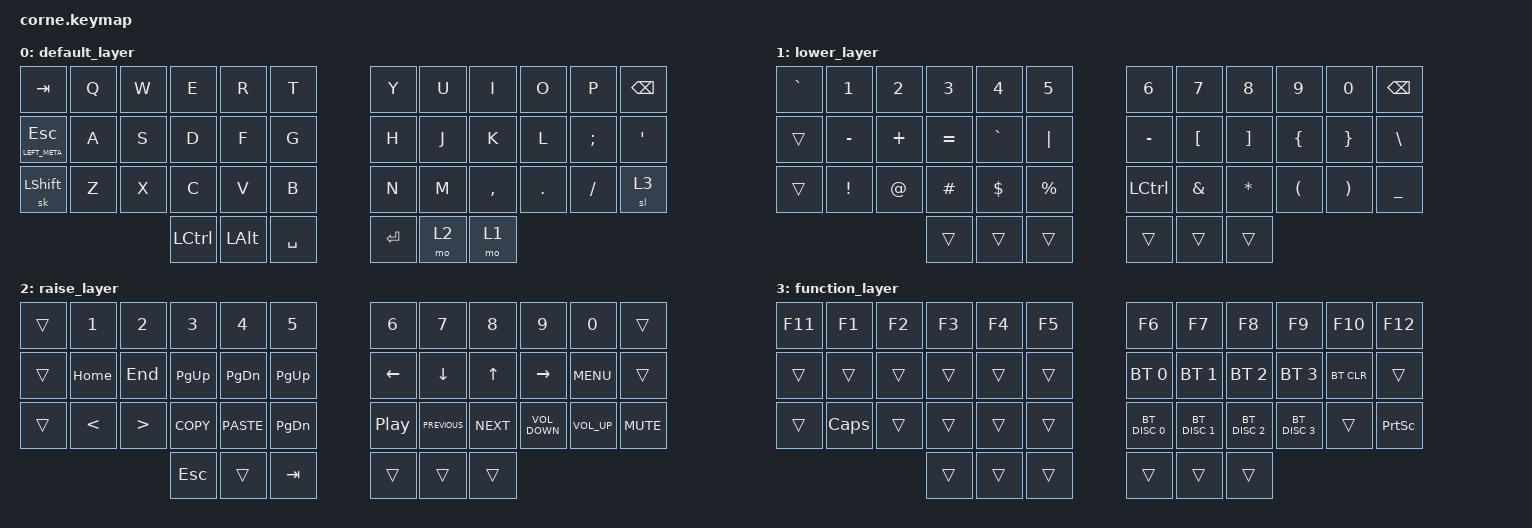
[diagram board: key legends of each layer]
#include <behaviors.dtsi>
#include <dt-bindings/zmk/bt.h>
#include <dt-bindings/zmk/keys.h>

/ {
    combos { compatible = "zmk,combos"; };

    keymap {
        compatible = "zmk,keymap";

        default_layer {
            bindings = <
&kp TAB               &kp Q  &kp W  &kp E      &kp R         &kp T        &kp Y      &kp U  &kp I      &kp O    &kp P     &kp BACKSPACE
&mt LEFT_META ESCAPE  &kp A  &kp S  &kp D      &kp F         &kp G        &kp H      &kp J  &kp K      &kp L    &kp SEMI  &kp SQT
&sk LSHFT             &kp Z  &kp X  &kp C      &kp V         &kp B        &kp N      &kp M  &kp COMMA  &kp DOT  &kp FSLH  &sl 3
                                    &kp LCTRL  &kp LEFT_ALT  &kp SPACE    &kp ENTER  &mo 2  &mo 1
            >;
        };

        lower_layer {
            bindings = <
&kp GRAVE  &kp NUMBER_1     &kp NUMBER_2  &kp NUMBER_3  &kp NUMBER_4  &kp N5         &kp NUMBER_6  &kp N7         &kp N8        &kp N9                &kp N0                 &kp BSPC
&trans     &kp MINUS        &kp PLUS      &kp EQUAL     &kp GRAVE     &kp PIPE       &kp MINUS     &kp LBKT       &kp RBKT      &kp LEFT_BRACE        &kp RIGHT_BRACE        &kp BSLH
&trans     &kp EXCLAMATION  &kp AT_SIGN   &kp HASH      &kp DOLLAR    &kp PERCENT    &kp LCTRL     &kp AMPERSAND  &kp ASTERISK  &kp LEFT_PARENTHESIS  &kp RIGHT_PARENTHESIS  &kp UNDERSCORE
                                          &trans        &trans        &trans         &trans        &trans         &trans
            >;
        };

        raise_layer {
            bindings = <
&trans  &kp NUMBER_1   &kp NUMBER_2      &kp NUMBER_3  &kp NUMBER_4   &kp N5           &kp NUMBER_6      &kp N7          &kp N8        &kp N9             &kp N0           &trans
&trans  &kp HOME       &kp END           &kp PAGE_UP   &kp PAGE_DOWN  &kp PAGE_UP      &kp LEFT          &kp DOWN        &kp UP_ARROW  &kp RIGHT          &kp K_MENU       &trans
&trans  &kp LESS_THAN  &kp GREATER_THAN  &kp K_COPY    &kp K_PASTE    &kp PAGE_DOWN    &kp C_PLAY_PAUSE  &kp C_PREVIOUS  &kp C_NEXT    &kp C_VOLUME_DOWN  &kp C_VOLUME_UP  &kp K_MUTE
                                         &kp ESCAPE    &trans         &kp TAB          &trans            &trans          &trans
            >;
        };

        function_layer {
            bindings = <
&kp F11  &kp F1    &kp F2  &kp F3  &kp F4  &kp F5    &kp F6         &kp F7         &kp F8         &kp F9         &kp F10     &kp F12
&trans   &trans    &trans  &trans  &trans  &trans    &bt BT_SEL 0   &bt BT_SEL 1   &bt BT_SEL 2   &bt BT_SEL 3   &bt BT_CLR  &trans
&trans   &kp CAPS  &trans  &trans  &trans  &trans    &bt BT_DISC 0  &bt BT_DISC 1  &bt BT_DISC 2  &bt BT_DISC 3  &trans      &kp PRINTSCREEN
                           &trans  &trans  &trans    &trans         &trans         &trans
            >;
        };
    };
};
